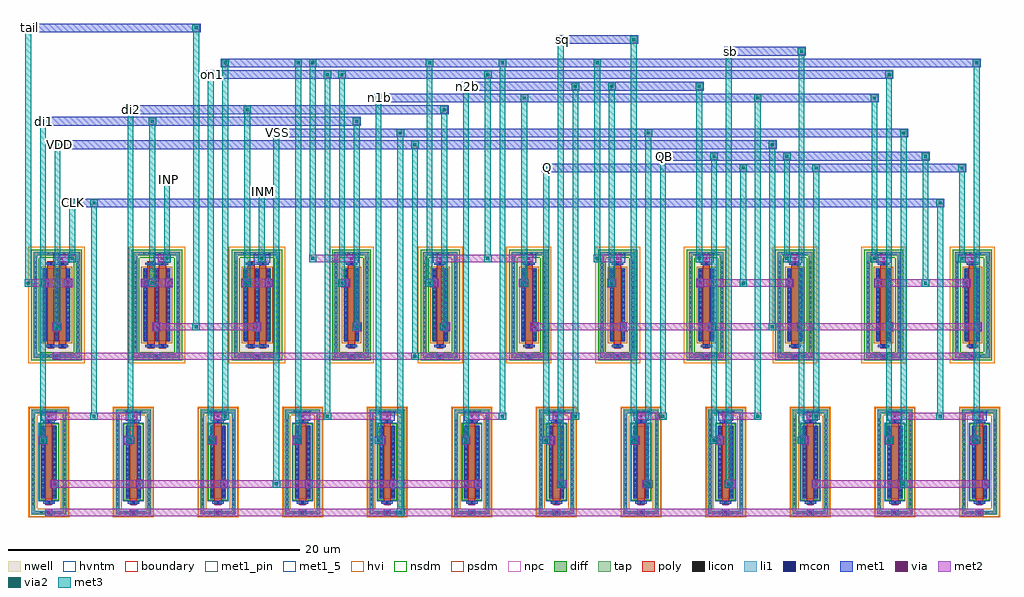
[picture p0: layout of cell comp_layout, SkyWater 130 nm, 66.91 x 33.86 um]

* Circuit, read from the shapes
.subckt comp_layout CLK INM INP Q QB VDD VSS di1 di2 n1b n2b on1 on2 sb sq tail
XM1 VSS CLK di1 VSS sky130_fd_pr__nfet_g5v0d10v5 w=5 l=0.5
XM2 VSS CLK di2 VSS sky130_fd_pr__nfet_g5v0d10v5 w=5 l=0.5
XM3 VSS on2 on1 VSS sky130_fd_pr__nfet_g5v0d10v5 w=5 l=0.5
XM4 VSS on1 on2 VSS sky130_fd_pr__nfet_g5v0d10v5 w=5 l=0.5
XM5 VSS on1 n1b VSS sky130_fd_pr__nfet_g5v0d10v5 w=5 l=0.5
XM6 VSS on2 n2b VSS sky130_fd_pr__nfet_g5v0d10v5 w=5 l=0.5
XM7 sq n2b Q VSS sky130_fd_pr__nfet_g5v0d10v5 w=5 l=0.5
XM8 VSS QB sq VSS sky130_fd_pr__nfet_g5v0d10v5 w=5 l=0.5
XM9 sb n1b QB VSS sky130_fd_pr__nfet_g5v0d10v5 w=5 l=0.5
XM10 VSS Q sb VSS sky130_fd_pr__nfet_g5v0d10v5 w=5 l=0.5
XM11 VSS CLK on1 VSS sky130_fd_pr__nfet_g5v0d10v5 w=5 l=0.5
XM12 VSS CLK on2 VSS sky130_fd_pr__nfet_g5v0d10v5 w=5 l=0.5
XM13 VDD CLK tail VDD sky130_fd_pr__pfet_g5v0d10v5 w=5 l=0.5 m=2
XM14 tail INP di1 VDD sky130_fd_pr__pfet_g5v0d10v5 w=5 l=0.5 m=2
XM15 tail INM di2 VDD sky130_fd_pr__pfet_g5v0d10v5 w=5 l=0.5 m=2
XM16 di1 on2 on1 VDD sky130_fd_pr__pfet_g5v0d10v5 w=5 l=0.5
XM17 di2 on1 on2 VDD sky130_fd_pr__pfet_g5v0d10v5 w=5 l=0.5
XM18 VDD on1 n1b VDD sky130_fd_pr__pfet_g5v0d10v5 w=5 l=0.5
XM19 VDD on2 n2b VDD sky130_fd_pr__pfet_g5v0d10v5 w=5 l=0.5
XM20 VDD n2b Q VDD sky130_fd_pr__pfet_g5v0d10v5 w=5 l=0.5
XM21 VDD QB Q VDD sky130_fd_pr__pfet_g5v0d10v5 w=5 l=0.5
XM22 VDD n1b QB VDD sky130_fd_pr__pfet_g5v0d10v5 w=5 l=0.5
XM23 VDD Q QB VDD sky130_fd_pr__pfet_g5v0d10v5 w=5 l=0.5
.ends

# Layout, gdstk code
import gdstk
lib = gdstk.Library(unit=1e-6, precision=1e-09)
def R(c, l, rs):  # rectangles x0, y0, x1, y1
    for r in rs: c.add(gdstk.rectangle(r[:2], r[2:], *l))
def A(c, l, x, y, w, h, nx, ny, dx, dy):  # array of equal rectangles
    R(c, l, [(x+i*dx, y+j*dy, x+i*dx+w, y+j*dy+h) for i in range(nx) for j in range(ny)])
nwell = (64, 20)
diff = (65, 20)
tap = (65, 44)
poly = (66, 20)
licon = (66, 44)
li1 = (67, 20)
mcon = (67, 44)
met1_5 = (68, 5)
met1_pin = (68, 16)
met1 = (68, 20)
via = (68, 44)
met2 = (69, 20)
via2 = (69, 44)
met3 = (70, 20)
hvi = (75, 20)
nsdm = (93, 44)
psdm = (94, 20)
npc = (95, 20)
hvntm = (125, 20)
boundary = (235, 4)

sky130_fd_pr__pfet_g5v0d = lib.new_cell('sky130_fd_pr__pfet_g5v0d10v5_26NBC3')
R(sky130_fd_pr__pfet_g5v0d, nwell, [(-1.54,-3.985,1.54,3.985)])
R(sky130_fd_pr__pfet_g5v0d, diff, [(-0.54,-2.5,0.54,2.5)])
R(sky130_fd_pr__pfet_g5v0d, tap, [(-1.21,-3.655,1.21,-3.365), (-1.21,-3.365,-0.92,3.365), (0.92,-3.365,1.21,3.365), (-1.21,3.365,1.21,3.655)])
R(sky130_fd_pr__pfet_g5v0d, poly, [(-0.25,-2.985,0.25,2.985)])
A(sky130_fd_pr__pfet_g5v0d, licon, -0.595, -3.595, 0.17, 0.17, 4, 2, 0.34, 7.02)
A(sky130_fd_pr__pfet_g5v0d, licon, -1.15, -2.975, 0.17, 0.17, 1, 18, 0, 0.34)
A(sky130_fd_pr__pfet_g5v0d, licon, 0.98, -2.975, 0.17, 0.17, 1, 18, 0, 0.34)
A(sky130_fd_pr__pfet_g5v0d, licon, -0.48, -2.295, 0.17, 0.17, 1, 14, 0, 0.34)
A(sky130_fd_pr__pfet_g5v0d, licon, 0.31, -2.295, 0.17, 0.17, 1, 14, 0, 0.34)
R(sky130_fd_pr__pfet_g5v0d, licon, [(-0.085,-2.905,0.085,-2.735), (-0.085,2.735,0.085,2.905)])
R(sky130_fd_pr__pfet_g5v0d, li1, [(-1.15,-3.595,1.15,-3.425), (-1.15,-3.425,-0.98,3.425), (0.98,-3.425,1.15,3.425), (-0.395,-2.905,0.395,-2.735), (-0.48,-2.52,-0.31,2.52), (0.31,-2.52,0.48,2.52), (-0.395,2.735,0.395,2.905), (-1.15,3.425,1.15,3.595)])
A(sky130_fd_pr__pfet_g5v0d, mcon, -0.48, -2.425, 0.17, 0.17, 1, 14, 0, 0.36)
A(sky130_fd_pr__pfet_g5v0d, mcon, 0.31, -2.425, 0.17, 0.17, 1, 14, 0, 0.36)
R(sky130_fd_pr__pfet_g5v0d, mcon, [(-0.085,-2.905,0.085,-2.735), (-0.085,2.735,0.085,2.905)])
R(sky130_fd_pr__pfet_g5v0d, met1, [(-0.23,-2.935,0.23,-2.905), (-0.395,-2.905,0.395,-2.735), (-0.23,-2.735,0.23,-2.705), (-0.51,-2.5,-0.28,2.5), (0.28,-2.5,0.51,2.5), (-0.23,2.705,0.23,2.735), (-0.395,2.735,0.395,2.905), (-0.23,2.905,0.23,2.935)])
R(sky130_fd_pr__pfet_g5v0d, hvi, [(-1.54,-3.985,1.54,3.985)])
R(sky130_fd_pr__pfet_g5v0d, nsdm, [(-1.335,-3.78,1.335,-3.24), (-1.335,-3.24,-0.795,3.24), (0.795,-3.24,1.335,3.24), (-1.335,3.24,1.335,3.78)])
R(sky130_fd_pr__pfet_g5v0d, psdm, [(-0.665,-2.625,0.665,2.625)])
R(sky130_fd_pr__pfet_g5v0d, npc, [(-0.185,-3.005,0.185,-2.635), (-0.185,2.635,0.185,3.005)])
R(sky130_fd_pr__pfet_g5v0d, boundary, [(-1.065,-3.51,1.065,3.51)])
sky130_fd_pr__pfet_g5v0d.add(gdstk.Label('B', (0,-3.51), layer=67, texttype=5))
sky130_fd_pr__pfet_g5v0d.add(gdstk.Label('D', (-0.395,0), layer=67, texttype=5))
sky130_fd_pr__pfet_g5v0d.add(gdstk.Label('S', (0.395,0), layer=67, texttype=5))
sky130_fd_pr__pfet_g5v0d.add(gdstk.Label('G', (0,2.82), layer=67, texttype=5))

sky130_fd_pr__nfet_g5v0d = lib.new_cell('sky130_fd_pr__nfet_g5v0d10v5_K6WTJS')
R(sky130_fd_pr__nfet_g5v0d, diff, [(-0.54,-2.5,0.54,2.5)])
R(sky130_fd_pr__nfet_g5v0d, tap, [(-1.22,-3.61,1.22,-3.32), (-1.22,-3.32,-0.93,3.32), (0.93,-3.32,1.22,3.32), (-1.22,3.32,1.22,3.61)])
R(sky130_fd_pr__nfet_g5v0d, poly, [(-0.25,-2.94,0.25,2.94)])
A(sky130_fd_pr__nfet_g5v0d, licon, -0.595, -3.55, 0.17, 0.17, 4, 2, 0.34, 6.93)
A(sky130_fd_pr__nfet_g5v0d, licon, -1.16, -2.975, 0.17, 0.17, 1, 18, 0, 0.34)
A(sky130_fd_pr__nfet_g5v0d, licon, 0.99, -2.975, 0.17, 0.17, 1, 18, 0, 0.34)
A(sky130_fd_pr__nfet_g5v0d, licon, -0.48, -2.295, 0.17, 0.17, 1, 14, 0, 0.34)
A(sky130_fd_pr__nfet_g5v0d, licon, 0.31, -2.295, 0.17, 0.17, 1, 14, 0, 0.34)
R(sky130_fd_pr__nfet_g5v0d, licon, [(-0.085,-2.86,0.085,-2.69), (-0.085,2.69,0.085,2.86)])
R(sky130_fd_pr__nfet_g5v0d, li1, [(-1.16,-3.55,1.16,-3.38), (-1.16,-3.38,-0.99,3.38), (0.99,-3.38,1.16,3.38), (-0.395,-2.86,0.395,-2.69), (-0.48,-2.52,-0.31,2.52), (0.31,-2.52,0.48,2.52), (-0.395,2.69,0.395,2.86), (-1.16,3.38,1.16,3.55)])
A(sky130_fd_pr__nfet_g5v0d, mcon, -0.48, -2.425, 0.17, 0.17, 1, 14, 0, 0.36)
A(sky130_fd_pr__nfet_g5v0d, mcon, 0.31, -2.425, 0.17, 0.17, 1, 14, 0, 0.36)
R(sky130_fd_pr__nfet_g5v0d, mcon, [(-0.085,-2.86,0.085,-2.69), (-0.085,2.69,0.085,2.86)])
R(sky130_fd_pr__nfet_g5v0d, met1, [(-0.23,-2.89,0.23,-2.86), (-0.395,-2.86,0.395,-2.69), (-0.23,-2.69,0.23,-2.66), (-0.51,-2.5,-0.28,2.5), (0.28,-2.5,0.51,2.5), (-0.23,2.66,0.23,2.69), (-0.395,2.69,0.395,2.86), (-0.23,2.86,0.23,2.89)])
R(sky130_fd_pr__nfet_g5v0d, hvi, [(-1.405,-3.795,1.405,3.795)])
R(sky130_fd_pr__nfet_g5v0d, nsdm, [(-0.665,-2.625,0.665,2.625)])
R(sky130_fd_pr__nfet_g5v0d, psdm, [(-1.345,-3.735,1.345,-3.195), (-1.345,-3.195,-0.805,3.195), (0.805,-3.195,1.345,3.195), (-1.345,3.195,1.345,3.735)])
R(sky130_fd_pr__nfet_g5v0d, npc, [(-0.185,-2.96,0.185,-2.59), (-0.185,2.59,0.185,2.96)])
R(sky130_fd_pr__nfet_g5v0d, hvntm, [(-0.725,-2.685,0.725,2.685)])
R(sky130_fd_pr__nfet_g5v0d, boundary, [(-1.075,-3.465,1.075,3.465)])
sky130_fd_pr__nfet_g5v0d.add(gdstk.Label('B', (0,-3.465), layer=67, texttype=5))
sky130_fd_pr__nfet_g5v0d.add(gdstk.Label('D', (-0.395,0), layer=67, texttype=5))
sky130_fd_pr__nfet_g5v0d.add(gdstk.Label('S', (0.395,0), layer=67, texttype=5))
sky130_fd_pr__nfet_g5v0d.add(gdstk.Label('G', (0,2.775), layer=67, texttype=5))

c_sky130_fd_pr__pfet_g5v0d = lib.new_cell('sky130_fd_pr__pfet_g5v0d10v5_T5LBLN')
R(c_sky130_fd_pr__pfet_g5v0d, nwell, [(-1.935,-3.985,1.935,3.985)])
R(c_sky130_fd_pr__pfet_g5v0d, diff, [(-0.935,-2.5,0.935,2.5)])
R(c_sky130_fd_pr__pfet_g5v0d, tap, [(-1.605,-3.655,1.605,-3.365), (-1.605,-3.365,-1.315,3.365), (1.315,-3.365,1.605,3.365), (-1.605,3.365,1.605,3.655)])
R(c_sky130_fd_pr__pfet_g5v0d, poly, [(-0.645,-2.985,-0.145,2.985), (0.145,-2.985,0.645,2.985)])
A(c_sky130_fd_pr__pfet_g5v0d, licon, -0.935, -3.595, 0.17, 0.17, 6, 2, 0.34, 7.02)
A(c_sky130_fd_pr__pfet_g5v0d, licon, -1.545, -2.975, 0.17, 0.17, 1, 18, 0, 0.34)
A(c_sky130_fd_pr__pfet_g5v0d, licon, 1.375, -2.975, 0.17, 0.17, 1, 18, 0, 0.34)
A(c_sky130_fd_pr__pfet_g5v0d, licon, -0.875, -2.295, 0.17, 0.17, 3, 14, 0.79, 0.34)
R(c_sky130_fd_pr__pfet_g5v0d, licon, [(-0.48,-2.905,-0.31,-2.735), (0.31,-2.905,0.48,-2.735), (-0.48,2.735,-0.31,2.905), (0.31,2.735,0.48,2.905)])
A(c_sky130_fd_pr__pfet_g5v0d, li1, -0.875, -2.52, 0.17, 5.04, 3, 1, 0.79, 0)
R(c_sky130_fd_pr__pfet_g5v0d, li1, [(-1.545,-3.595,1.545,-3.425), (-1.545,-3.425,-1.375,3.425), (1.375,-3.425,1.545,3.425), (-0.79,-2.905,0.79,-2.735), (-0.79,2.735,0.79,2.905), (-1.545,3.425,1.545,3.595)])
A(c_sky130_fd_pr__pfet_g5v0d, mcon, -0.875, -2.425, 0.17, 0.17, 3, 14, 0.79, 0.36)
R(c_sky130_fd_pr__pfet_g5v0d, mcon, [(-0.48,-2.905,-0.31,-2.735), (0.31,-2.905,0.48,-2.735), (-0.48,2.735,-0.31,2.905), (0.31,2.735,0.48,2.905)])
A(c_sky130_fd_pr__pfet_g5v0d, met1, -0.905, -2.5, 0.23, 5, 3, 1, 0.79, 0)
R(c_sky130_fd_pr__pfet_g5v0d, met1, [(-0.625,-2.935,-0.165,-2.905), (0.165,-2.935,0.625,-2.905), (-0.79,-2.905,0.79,-2.735), (-0.625,-2.735,-0.165,-2.705), (0.165,-2.735,0.625,-2.705), (-0.625,2.705,-0.165,2.735), (0.165,2.705,0.625,2.735), (-0.79,2.735,0.79,2.905), (-0.625,2.905,-0.165,2.935), (0.165,2.905,0.625,2.935)])
R(c_sky130_fd_pr__pfet_g5v0d, hvi, [(-1.935,-3.985,1.935,3.985)])
R(c_sky130_fd_pr__pfet_g5v0d, nsdm, [(-1.73,-3.78,1.73,-3.24), (-1.73,-3.24,-1.19,3.24), (1.19,-3.24,1.73,3.24), (-1.73,3.24,1.73,3.78)])
R(c_sky130_fd_pr__pfet_g5v0d, psdm, [(-1.06,-2.625,1.06,2.625)])
R(c_sky130_fd_pr__pfet_g5v0d, npc, [(-0.58,-3.005,-0.21,-2.635), (0.21,-3.005,0.58,-2.635), (-0.58,2.635,-0.21,3.005), (0.21,2.635,0.58,3.005)])
R(c_sky130_fd_pr__pfet_g5v0d, boundary, [(-1.46,-3.51,1.46,3.51)])
c_sky130_fd_pr__pfet_g5v0d.add(gdstk.Label('G', (0.395,2.82), layer=67, texttype=5))
c_sky130_fd_pr__pfet_g5v0d.add(gdstk.Label('G', (-0.395,2.82), layer=67, texttype=5))
c_sky130_fd_pr__pfet_g5v0d.add(gdstk.Label('B', (0,-3.51), layer=67, texttype=5))
c_sky130_fd_pr__pfet_g5v0d.add(gdstk.Label('D0', (-0.79,0), layer=67, texttype=5))
c_sky130_fd_pr__pfet_g5v0d.add(gdstk.Label('S1', (0,0), layer=67, texttype=5))

comp_layout = lib.new_cell('comp_layout')
A(comp_layout, li1, 1.23, 0.155, 0.34, 0.34, 12, 1, 5.8, 0)
A(comp_layout, li1, 1.765, 10.885, 0.34, 0.34, 3, 1, 6.87, 0)
A(comp_layout, li1, 21.98, 10.885, 0.34, 0.34, 8, 1, 6.08, 0)
A(comp_layout, mcon, 1.315, 0.24, 0.17, 0.17, 12, 1, 5.8, 0)
A(comp_layout, mcon, 1.85, 10.97, 0.17, 0.17, 3, 1, 6.87, 0)
A(comp_layout, mcon, 22.065, 10.97, 0.17, 0.17, 8, 1, 6.08, 0)
R(comp_layout, met1_5, [(1,26.95,1.2,27.35), (7,27.75,7.2,28.15), (24,28.55,24.2,28.95), (30,29.35,30.2,29.75), (48,31.75,48.2,32.15), (36.5,32.55,36.7,32.95), (0,33.35,0.2,33.75)])
R(comp_layout, met1_pin, [(3,21.35,3.2,21.75), (16,22.15,16.2,22.55), (9.5,22.95,9.7,23.35), (35.5,23.75,35.7,24.15), (43.5,24.55,43.7,24.95), (2,25.35,2.2,25.75), (17,26.15,17.2,26.55), (12.5,30.15,12.7,30.55), (13.5,30.95,13.7,31.35)])
A(comp_layout, met1, 1.15, 0.075, 0.5, 0.5, 12, 1, 5.8, 0)
A(comp_layout, met1, 1.545, 2.04, 0.5, 0.5, 12, 1, 5.8, 0)
A(comp_layout, met1, 0.755, 5.04, 0.5, 0.5, 12, 1, 5.8, 0)
A(comp_layout, met1, 0.89, 6.63, 1.02, 0.6, 12, 1, 5.8, 0)
A(comp_layout, met1, 1.685, 10.805, 0.5, 0.5, 3, 1, 6.87, 0)
A(comp_layout, met1, 21.9, 10.805, 0.5, 0.5, 8, 1, 6.08, 0)
A(comp_layout, met1, 1.685, 12.815, 0.5, 0.5, 4, 1, 6.87, 0)
A(comp_layout, met1, 28.375, 12.815, 0.5, 0.5, 7, 1, 6.08, 0)
A(comp_layout, met1, 21.505, 15.815, 0.5, 0.5, 8, 1, 6.08, 0)
A(comp_layout, met1, 1.71, 17.45, 1.13, 0.6, 3, 1, 6.87, 0)
A(comp_layout, met1, 21.64, 17.45, 1.02, 0.6, 8, 1, 6.08, 0)
R(comp_layout, met1, [(0.895,15.815,1.395,16.315), (2.475,15.815,2.975,16.315), (7.765,15.815,8.265,16.315), (9.345,15.815,9.845,16.315), (14.635,15.815,15.135,16.315), (16.215,15.815,16.715,16.315), (2.7,21.25,62.8,21.85), (15.7,22.05,16.3,22.65), (9.2,22.85,9.8,23.45), (35.2,23.65,64.3,24.25), (43.2,24.45,61.8,25.05), (1.7,25.25,51.3,25.85), (16.7,26.05,60.3,26.65), (0.7,26.85,22.8,27.45), (6.7,27.65,28.8,28.25), (23.7,28.45,58.3,29.05), (29.7,29.25,46.3,29.85), (12.2,30.05,59.3,30.65), (13.2,30.85,65.3,31.45), (47.7,31.65,53.3,32.25), (36.2,32.45,41.8,33.05), (-0.3,33.25,11.8,33.85)])
A(comp_layout, via, 1.325, 0.25, 0.15, 0.15, 12, 2, 5.8, 6.605)
A(comp_layout, via, 1.72, 2.215, 0.15, 0.15, 12, 1, 5.8, 0)
A(comp_layout, via, 0.93, 5.215, 0.15, 0.15, 12, 1, 5.8, 0)
A(comp_layout, via, 1.86, 10.98, 0.15, 0.15, 3, 1, 6.87, 0)
A(comp_layout, via, 22.075, 10.98, 0.15, 0.15, 8, 2, 6.08, 6.695)
A(comp_layout, via, 1.86, 12.99, 0.15, 0.15, 4, 1, 6.87, 0)
A(comp_layout, via, 28.55, 12.99, 0.15, 0.15, 7, 1, 6.08, 0)
A(comp_layout, via, 21.68, 15.99, 0.15, 0.15, 8, 1, 6.08, 0)
A(comp_layout, via, 2.2, 17.675, 0.15, 0.15, 3, 1, 6.87, 0)
A(comp_layout, via, 1.925, 25.475, 0.15, 0.15, 3, 1, 24.5, 0)
R(comp_layout, via, [(1.07,15.99,1.22,16.14), (2.65,15.99,2.8,16.14), (7.94,15.99,8.09,16.14), (9.52,15.99,9.67,16.14), (14.81,15.99,14.96,16.14), (16.39,15.99,16.54,16.14), (2.925,21.475,3.075,21.625), (4.425,21.475,4.575,21.625), (62.425,21.475,62.575,21.625), (15.925,22.275,16.075,22.425), (9.425,23.075,9.575,23.225), (35.425,23.875,35.575,24.025), (48.925,23.875,49.075,24.025), (53.925,23.875,54.075,24.025), (63.925,23.875,64.075,24.025), (43.425,24.675,43.575,24.825), (46.925,24.675,47.075,24.825), (51.925,24.675,52.075,24.825), (61.425,24.675,61.575,24.825), (16.925,26.275,17.075,26.425), (25.425,26.275,25.575,26.425), (42.425,26.275,42.575,26.425), (59.925,26.275,60.075,26.425), (0.925,27.075,1.075,27.225), (8.425,27.075,8.575,27.225), (22.425,27.075,22.575,27.225), (6.925,27.875,7.075,28.025), (14.925,27.875,15.075,28.025), (28.425,27.875,28.575,28.025), (23.925,28.675,24.075,28.825), (33.925,28.675,34.075,28.825), (49.925,28.675,50.075,28.825), (57.925,28.675,58.075,28.825), (29.925,29.475,30.075,29.625), (37.425,29.475,37.575,29.625), (39.925,29.475,40.075,29.625), (45.925,29.475,46.075,29.625), (12.425,30.275,12.575,30.425), (20.425,30.275,20.575,30.425), (21.425,30.275,21.575,30.425), (31.425,30.275,31.575,30.425), (58.925,30.275,59.075,30.425), (13.425,31.075,13.575,31.225), (18.425,31.075,18.575,31.225), (19.425,31.075,19.575,31.225), (27.425,31.075,27.575,31.225), (32.425,31.075,32.575,31.225), (38.925,31.075,39.075,31.225), (64.925,31.075,65.075,31.225), (47.925,31.875,48.075,32.025), (52.925,31.875,53.075,32.025), (36.425,32.675,36.575,32.825), (41.425,32.675,41.575,32.825), (-0.075,33.475,0.075,33.625), (11.425,33.475,11.575,33.625)])
A(comp_layout, met2, 1.15, 0.075, 0.5, 0.005, 12, 1, 5.8, 0)
A(comp_layout, met2, 1.495, 1.99, 0.6, 0.05, 12, 2, 5.8, 0.55)
A(comp_layout, met2, 0.705, 4.99, 0.6, 0.6, 3, 1, 29, 0)
A(comp_layout, met2, 6.505, 4.99, 0.6, 0.05, 4, 2, 5.8, 0.55)
A(comp_layout, met2, 35.505, 4.99, 0.6, 0.05, 4, 2, 5.8, 0.55)
A(comp_layout, met2, 1.685, 11.3, 0.5, 0.005, 3, 1, 6.87, 0)
A(comp_layout, met2, 21.9, 11.3, 0.5, 0.005, 8, 1, 6.08, 0)
A(comp_layout, met2, 34.405, 12.765, 0.6, 0.045, 6, 1, 6.08, 0)
A(comp_layout, met2, 34.405, 13.31, 0.6, 0.055, 6, 1, 6.08, 0)
A(comp_layout, met2, 21.455, 15.765, 0.6, 0.05, 3, 2, 6.08, 0.55)
A(comp_layout, met2, 45.775, 15.765, 0.6, 0.045, 4, 1, 6.08, 0)
A(comp_layout, met2, 45.775, 16.31, 0.6, 0.055, 4, 1, 6.08, 0)
A(comp_layout, met2, 1.75, 25.3, 0.5, 0.5, 3, 1, 24.5, 0)
R(comp_layout, met2, [(1.15,0.08,65.45,0.58), (1.495,2.04,31.095,2.54), (36.25,2.04,36.895,2.54), (42.095,2.04,42.75,2.54), (47.75,2.04,48.495,2.54), (53.695,2.04,65.895,2.54), (64.505,4.99,65.105,5.04), (6.505,5.04,7.25,5.54), (12.25,5.04,12.905,5.54), (18.105,5.04,18.75,5.54), (23.75,5.04,24.505,5.54), (35.25,5.04,36.105,5.54), (41.25,5.04,41.905,5.54), (46.75,5.04,47.705,5.54), (52.75,5.04,53.505,5.54), (64.505,5.04,65.25,5.54), (64.505,5.54,65.105,5.59), (1.15,6.68,7.45,7.18), (12.75,6.68,13.75,7.18), (18.55,6.68,24.85,7.18), (30.15,6.68,32.75,7.18), (35.95,6.68,37.75,7.18), (41.75,6.68,43.75,7.18), (47.55,6.68,50.25,7.18), (53.35,6.68,54.25,7.18), (59.15,6.68,65.45,7.18), (1.685,10.8,64.96,11.3), (1.635,12.765,2.235,12.815), (8.505,12.765,9.105,12.81), (15.375,12.765,15.975,12.81), (22.245,12.765,22.845,13.365), (28.325,12.765,28.925,12.815), (8.505,12.81,15.975,13.31), (34.405,12.81,65.405,13.31), (1.635,12.815,2.25,13.315), (28.25,12.815,28.925,13.315), (8.505,13.31,9.105,13.365), (15.375,13.31,15.975,13.365), (1.635,13.315,2.235,13.365), (28.325,13.315,28.925,13.365), (0.845,15.765,3.025,15.815), (7.715,15.765,9.895,16.365), (14.585,15.765,16.765,16.365), (39.695,15.765,40.295,16.365), (45.775,15.81,52.455,16.31), (57.935,15.81,64.615,16.31), (-0.25,15.815,3.025,16.315), (21.25,15.815,22.055,16.315), (27.25,15.815,28.135,16.315), (33.615,15.815,34.25,16.315), (0.845,16.315,3.025,16.365), (2.025,17.5,3.25,18), (8.895,17.5,9.75,18), (15.75,17.5,16.265,18), (19.25,17.5,22.4,18), (27.98,17.5,34.56,18), (38.75,17.5,40.64,18), (45.75,17.5,46.72,18), (51.75,17.5,52.8,18), (57.75,17.5,58.88,18), (63.75,17.5,64.96,18), (2.75,21.3,3.25,21.8), (4.25,21.3,4.75,21.8), (62.25,21.3,62.75,21.8), (15.75,22.1,16.25,22.6), (9.25,22.9,9.75,23.4), (35.25,23.7,35.75,24.2), (48.75,23.7,49.25,24.2), (53.75,23.7,54.25,24.2), (63.75,23.7,64.25,24.2), (43.25,24.5,43.75,25), (46.75,24.5,47.25,25), (51.75,24.5,52.25,25), (61.25,24.5,61.75,25), (16.75,26.1,17.25,26.6), (25.25,26.1,25.75,26.6), (42.25,26.1,42.75,26.6), (59.75,26.1,60.25,26.6), (0.75,26.9,1.25,27.4), (8.25,26.9,8.75,27.4), (22.25,26.9,22.75,27.4), (6.75,27.7,7.25,28.2), (14.75,27.7,15.25,28.2), (28.25,27.7,28.75,28.2), (23.75,28.5,24.25,29), (33.75,28.5,34.25,29), (49.75,28.5,50.25,29), (57.75,28.5,58.25,29), (29.75,29.3,30.25,29.8), (37.25,29.3,37.75,29.8), (39.75,29.3,40.25,29.8), (45.75,29.3,46.25,29.8), (12.25,30.1,12.75,30.6), (20.25,30.1,20.75,30.6), (21.25,30.1,21.75,30.6), (31.25,30.1,31.75,30.6), (58.75,30.1,59.25,30.6), (13.25,30.9,13.75,31.4), (18.25,30.9,18.75,31.4), (19.25,30.9,19.75,31.4), (27.25,30.9,27.75,31.4), (32.25,30.9,32.75,31.4), (38.75,30.9,39.25,31.4), (64.75,30.9,65.25,31.4), (47.75,31.7,48.25,32.2), (52.75,31.7,53.25,32.2), (36.25,32.5,36.75,33), (41.25,32.5,41.75,33), (-0.25,33.3,0.25,33.8), (11.25,33.3,11.75,33.8)])
A(comp_layout, via2, 46.9, 5.19, 0.2, 0.2, 4, 1, 6, 0)
A(comp_layout, via2, 8.4, 15.965, 0.2, 0.2, 3, 1, 6.5, 0)
A(comp_layout, via2, 2.9, 17.65, 0.2, 0.2, 3, 1, 6.5, 0)
A(comp_layout, via2, 45.9, 17.65, 0.2, 0.2, 4, 1, 6, 0)
A(comp_layout, via2, 1.9, 25.45, 0.2, 0.2, 3, 1, 24.5, 0)
R(comp_layout, via2, [(25.4,0.23,25.6,0.43), (16.9,2.19,17.1,2.39), (36.4,2.19,36.6,2.39), (42.4,2.19,42.6,2.39), (47.9,2.19,48.1,2.39), (59.9,2.19,60.1,2.39), (0.9,5.19,1.1,5.39), (6.9,5.19,7.1,5.39), (12.4,5.19,12.6,5.39), (18.4,5.19,18.6,5.39), (23.9,5.19,24.1,5.39), (29.9,5.19,30.1,5.39), (35.4,5.19,35.6,5.39), (41.4,5.19,41.6,5.39), (4.4,6.83,4.6,7.03), (13.4,6.83,13.6,7.03), (20.4,6.83,20.6,7.03), (32.4,6.83,32.6,7.03), (37.4,6.83,37.6,7.03), (43.4,6.83,43.6,7.03), (49.9,6.83,50.1,7.03), (53.9,6.83,54.1,7.03), (62.4,6.83,62.6,7.03), (26.4,10.95,26.6,11.15), (11.4,12.96,11.6,13.16), (50.9,12.96,51.1,13.16), (1.9,12.965,2.1,13.165), (22.4,12.965,22.6,13.165), (28.4,12.965,28.6,13.165), (48.9,15.96,49.1,16.16), (61.4,15.96,61.6,16.16), (-0.1,15.965,0.1,16.165), (27.4,15.965,27.6,16.165), (33.9,15.965,34.1,16.165), (39.9,15.965,40.1,16.165), (19.4,17.65,19.6,17.85), (31.4,17.65,31.6,17.85), (38.9,17.65,39.1,17.85), (2.9,21.45,3.1,21.65), (4.4,21.45,4.6,21.65), (62.4,21.45,62.6,21.65), (15.9,22.25,16.1,22.45), (9.4,23.05,9.6,23.25), (35.4,23.85,35.6,24.05), (48.9,23.85,49.1,24.05), (53.9,23.85,54.1,24.05), (63.9,23.85,64.1,24.05), (43.4,24.65,43.6,24.85), (46.9,24.65,47.1,24.85), (51.9,24.65,52.1,24.85), (61.4,24.65,61.6,24.85), (16.9,26.25,17.1,26.45), (25.4,26.25,25.6,26.45), (42.4,26.25,42.6,26.45), (59.9,26.25,60.1,26.45), (0.9,27.05,1.1,27.25), (8.4,27.05,8.6,27.25), (22.4,27.05,22.6,27.25), (6.9,27.85,7.1,28.05), (14.9,27.85,15.1,28.05), (28.4,27.85,28.6,28.05), (23.9,28.65,24.1,28.85), (33.9,28.65,34.1,28.85), (49.9,28.65,50.1,28.85), (57.9,28.65,58.1,28.85), (29.9,29.45,30.1,29.65), (37.4,29.45,37.6,29.65), (39.9,29.45,40.1,29.65), (45.9,29.45,46.1,29.65), (12.4,30.25,12.6,30.45), (20.4,30.25,20.6,30.45), (21.4,30.25,21.6,30.45), (31.4,30.25,31.6,30.45), (58.9,30.25,59.1,30.45), (13.4,31.05,13.6,31.25), (18.4,31.05,18.6,31.25), (19.4,31.05,19.6,31.25), (27.4,31.05,27.6,31.25), (32.4,31.05,32.6,31.25), (38.9,31.05,39.1,31.25), (64.9,31.05,65.1,31.25), (47.9,31.85,48.1,32.05), (52.9,31.85,53.1,32.05), (36.4,32.65,36.6,32.85), (41.4,32.65,41.6,32.85), (-0.1,33.45,0.1,33.65), (11.4,33.45,11.6,33.65)])
A(comp_layout, met3, 46.75, 5.04, 0.5, 0.5, 4, 1, 6, 0)
A(comp_layout, met3, 8.25, 15.815, 0.5, 0.5, 3, 1, 6.5, 0)
A(comp_layout, met3, 2.75, 17.5, 0.5, 0.5, 3, 1, 6.5, 0)
A(comp_layout, met3, 45.75, 17.5, 0.5, 0.5, 4, 1, 6, 0)
A(comp_layout, met3, 1.75, 25.3, 0.5, 0.5, 3, 1, 24.5, 0)
R(comp_layout, met3, [(25.25,0.08,25.75,0.58), (25.3,0.58,25.7,26.1), (16.75,2.04,17.25,2.54), (36.25,2.04,36.75,2.54), (42.25,2.04,42.75,2.54), (47.75,2.04,48.25,2.54), (59.75,2.04,60.25,2.54), (16.8,2.54,17.2,26.1), (36.3,2.54,36.7,32.5), (42.3,2.54,42.7,26.1), (47.8,2.54,48.2,31.7), (59.8,2.54,60.2,26.1), (0.75,5.04,1.25,5.54), (6.75,5.04,7.25,5.54), (12.25,5.04,12.75,5.54), (18.25,5.04,18.75,5.54), (23.75,5.04,24.25,5.54), (29.75,5.04,30.25,5.54), (35.25,5.04,35.75,5.54), (41.25,5.04,41.75,5.54), (0.8,5.54,1.2,26.9), (6.8,5.54,7.2,27.7), (12.3,5.54,12.7,30.1), (18.3,5.54,18.7,30.9), (23.8,5.54,24.2,28.5), (29.8,5.54,30.2,29.3), (35.3,5.54,35.7,23.7), (41.3,5.54,41.7,32.5), (46.8,5.54,47.2,24.5), (52.8,5.54,53.2,31.7), (58.8,5.54,59.2,30.1), (64.8,5.54,65.2,30.9), (4.25,6.68,4.75,7.18), (13.25,6.68,13.75,7.18), (20.25,6.68,20.75,7.18), (32.25,6.68,32.75,7.18), (37.25,6.68,37.75,7.18), (43.25,6.68,43.75,7.18), (49.75,6.68,50.25,7.18), (53.75,6.68,54.25,7.18), (62.25,6.68,62.75,7.18), (4.3,7.18,4.7,21.3), (13.3,7.18,13.7,30.9), (20.3,7.18,20.7,30.1), (32.3,7.18,32.7,30.9), (37.3,7.18,37.7,29.3), (43.3,7.18,43.7,24.5), (49.8,7.18,50.2,28.5), (53.8,7.18,54.2,23.7), (62.3,7.18,62.7,21.3), (26.25,10.8,26.75,11.3), (26.3,11.3,26.7,25.3), (11.25,12.81,11.75,13.31), (50.75,12.81,51.25,13.31), (1.75,12.815,2.25,13.315), (22.25,12.815,22.75,13.315), (28.25,12.815,28.75,13.315), (11.3,13.31,11.7,33.3), (50.8,13.31,51.2,25.3), (1.8,13.315,2.2,25.3), (22.3,13.315,22.7,26.9), (28.3,13.315,28.7,27.7), (48.75,15.81,49.25,16.31), (61.25,15.81,61.75,16.31), (-0.25,15.815,0.25,16.315), (27.25,15.815,27.75,16.315), (33.75,15.815,34.25,16.315), (39.75,15.815,40.25,16.315), (48.8,16.31,49.2,23.7), (61.3,16.31,61.7,24.5), (-0.2,16.315,0.2,33.3), (8.3,16.315,8.7,26.9), (14.8,16.315,15.2,27.7), (21.3,16.315,21.7,30.1), (27.3,16.315,27.7,30.9), (33.8,16.315,34.2,28.5), (39.8,16.315,40.2,29.3), (19.25,17.5,19.75,18), (31.25,17.5,31.75,18), (38.75,17.5,39.25,18), (2.8,18,3.2,21.3), (9.3,18,9.7,22.9), (15.8,18,16.2,22.1), (19.3,18,19.7,30.9), (31.3,18,31.7,30.1), (38.8,18,39.2,30.9), (45.8,18,46.2,29.3), (51.8,18,52.2,24.5), (57.8,18,58.2,28.5), (63.8,18,64.2,23.7), (2.75,21.3,3.25,21.8), (4.25,21.3,4.75,21.8), (62.25,21.3,62.75,21.8), (15.75,22.1,16.25,22.6), (9.25,22.9,9.75,23.4), (35.25,23.7,35.75,24.2), (48.75,23.7,49.25,24.2), (53.75,23.7,54.25,24.2), (63.75,23.7,64.25,24.2), (43.25,24.5,43.75,25), (46.75,24.5,47.25,25), (51.75,24.5,52.25,25), (61.25,24.5,61.75,25), (16.75,26.1,17.25,26.6), (25.25,26.1,25.75,26.6), (42.25,26.1,42.75,26.6), (59.75,26.1,60.25,26.6), (0.75,26.9,1.25,27.4), (8.25,26.9,8.75,27.4), (22.25,26.9,22.75,27.4), (6.75,27.7,7.25,28.2), (14.75,27.7,15.25,28.2), (28.25,27.7,28.75,28.2), (23.75,28.5,24.25,29), (33.75,28.5,34.25,29), (49.75,28.5,50.25,29), (57.75,28.5,58.25,29), (29.75,29.3,30.25,29.8), (37.25,29.3,37.75,29.8), (39.75,29.3,40.25,29.8), (45.75,29.3,46.25,29.8), (12.25,30.1,12.75,30.6), (20.25,30.1,20.75,30.6), (21.25,30.1,21.75,30.6), (31.25,30.1,31.75,30.6), (58.75,30.1,59.25,30.6), (13.25,30.9,13.75,31.4), (18.25,30.9,18.75,31.4), (19.25,30.9,19.75,31.4), (27.25,30.9,27.75,31.4), (32.25,30.9,32.75,31.4), (38.75,30.9,39.25,31.4), (64.75,30.9,65.25,31.4), (47.75,31.7,48.25,32.2), (52.75,31.7,53.25,32.2), (36.25,32.5,36.75,33), (41.25,32.5,41.75,33), (-0.25,33.3,0.25,33.8), (11.25,33.3,11.75,33.8)])
comp_layout.add(gdstk.Reference(sky130_fd_pr__pfet_g5v0d, (22.15,14.565)))
comp_layout.add(gdstk.Reference(sky130_fd_pr__pfet_g5v0d, (28.23,14.565)))
comp_layout.add(gdstk.Reference(sky130_fd_pr__pfet_g5v0d, (58.63,14.565)))
comp_layout.add(gdstk.Reference(sky130_fd_pr__pfet_g5v0d, (64.71,14.565)))
comp_layout.add(gdstk.Reference(sky130_fd_pr__pfet_g5v0d, (46.47,14.565)))
comp_layout.add(gdstk.Reference(sky130_fd_pr__pfet_g5v0d, (52.55,14.565)))
comp_layout.add(gdstk.Reference(sky130_fd_pr__pfet_g5v0d, (34.31,14.565)))
comp_layout.add(gdstk.Reference(sky130_fd_pr__pfet_g5v0d, (40.39,14.565)))
comp_layout.add(gdstk.Reference(sky130_fd_pr__nfet_g5v0d, (13,3.79)))
comp_layout.add(gdstk.Reference(sky130_fd_pr__nfet_g5v0d, (18.8,3.79)))
comp_layout.add(gdstk.Reference(sky130_fd_pr__nfet_g5v0d, (47.8,3.79)))
comp_layout.add(gdstk.Reference(sky130_fd_pr__nfet_g5v0d, (53.6,3.79)))
comp_layout.add(gdstk.Reference(sky130_fd_pr__nfet_g5v0d, (36.2,3.79)))
comp_layout.add(gdstk.Reference(sky130_fd_pr__nfet_g5v0d, (42,3.79)))
comp_layout.add(gdstk.Reference(sky130_fd_pr__nfet_g5v0d, (24.6,3.79)))
comp_layout.add(gdstk.Reference(sky130_fd_pr__nfet_g5v0d, (30.4,3.79)))
comp_layout.add(gdstk.Reference(sky130_fd_pr__nfet_g5v0d, (1.4,3.79)))
comp_layout.add(gdstk.Reference(sky130_fd_pr__nfet_g5v0d, (7.2,3.79)))
comp_layout.add(gdstk.Reference(sky130_fd_pr__nfet_g5v0d, (59.4,3.79)))
comp_layout.add(gdstk.Reference(sky130_fd_pr__nfet_g5v0d, (65.2,3.79)))
comp_layout.add(gdstk.Reference(c_sky130_fd_pr__pfet_g5v0d, (8.805,14.565)))
comp_layout.add(gdstk.Reference(c_sky130_fd_pr__pfet_g5v0d, (15.675,14.565)))
comp_layout.add(gdstk.Reference(c_sky130_fd_pr__pfet_g5v0d, (1.935,14.565)))
comp_layout.add(gdstk.Label('di1', (1.1,27.15), layer=68, texttype=5))
comp_layout.add(gdstk.Label('di2', (7.1,27.95), layer=68, texttype=5))
comp_layout.add(gdstk.Label('n1b', (24.1,28.75), layer=68, texttype=5))
comp_layout.add(gdstk.Label('n2b', (30.1,29.55), layer=68, texttype=5))
comp_layout.add(gdstk.Label('sq', (36.6,32.75), layer=68, texttype=5))
comp_layout.add(gdstk.Label('sb', (48.1,31.95), layer=68, texttype=5))
comp_layout.add(gdstk.Label('tail', (0.1,33.55), layer=68, texttype=5))
comp_layout.add(gdstk.Label('VDD', (2.1,25.55), layer=68, texttype=5))
comp_layout.add(gdstk.Label('on1', (12.6,30.35), layer=68, texttype=5))
comp_layout.add(gdstk.Label('on2', (13.6,31.15), layer=68, texttype=5))
comp_layout.add(gdstk.Label('VSS', (17.1,26.35), layer=68, texttype=5))
comp_layout.add(gdstk.Label('Q', (35.6,23.95), layer=68, texttype=5))
comp_layout.add(gdstk.Label('QB', (43.6,24.75), layer=68, texttype=5))
comp_layout.add(gdstk.Label('CLK', (3.1,21.55), layer=68, texttype=5))
comp_layout.add(gdstk.Label('INP', (9.6,23.15), layer=68, texttype=5))
comp_layout.add(gdstk.Label('INM', (16.1,22.35), layer=68, texttype=5))

lib.write_gds('comp_layout.gds')
